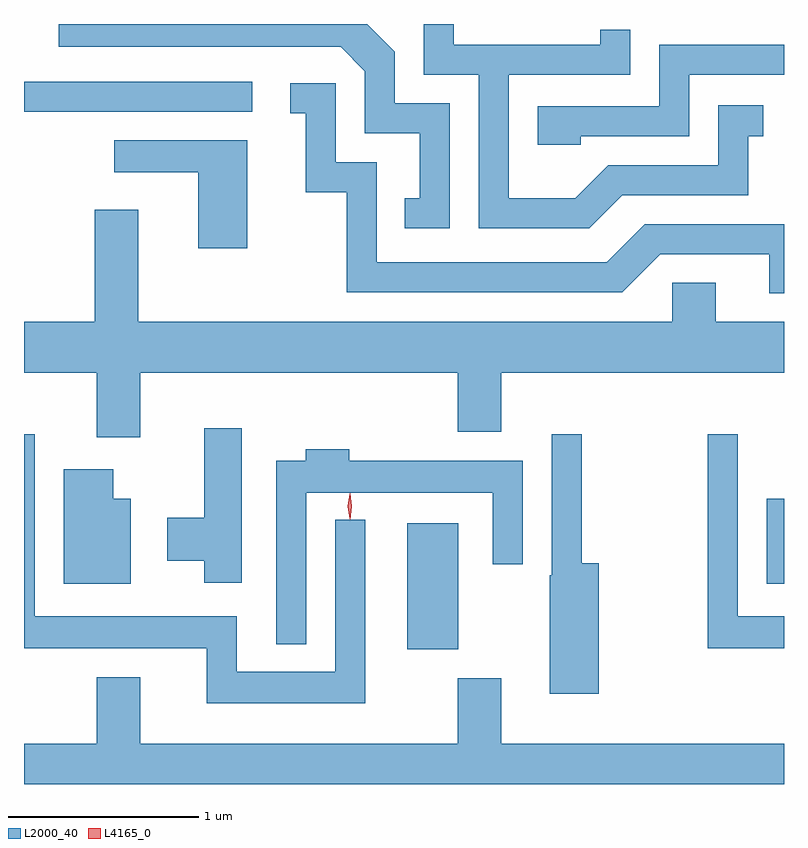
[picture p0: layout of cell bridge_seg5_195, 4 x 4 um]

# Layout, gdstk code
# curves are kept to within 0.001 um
import gdstk
lib = gdstk.Library(unit=1e-6, precision=1e-09)
def R(c, l, rs):  # rectangles x0, y0, x1, y1
    for r in rs: c.add(gdstk.rectangle(r[:2], r[2:], *l))
def P(c, l, *ps):  # polygons
    for p in ps: c.add(gdstk.Polygon(p, *l))
L2000_40 = (2000, 40)
L4165_0 = (4165, 0)

bridge_seg5_195 = lib.new_cell('bridge_seg5_195')
R(bridge_seg5_195, L2000_40, [(1278.636,1422.041,1278.904,1422.704), (1280.526,1422.386,1280.618,1422.834), (1276.618,1424.871,1277.818,1425.029)])
P(bridge_seg5_195, L2000_40, [(1279.767,1424.431),(1280.429,1424.431),(1280.429,1424.741),(1280.508,1424.741),(1280.508,1424.904),(1280.271,1424.904),(1280.271,1424.589),(1279.694,1424.589),(1279.519,1424.414),(1279.169,1424.414),(1279.169,1425.066),(1279.809,1425.066),(1279.809,1425.303),(1279.651,1425.303),(1279.651,1425.224),(1278.879,1425.224),(1278.879,1425.332),(1278.721,1425.332),(1278.721,1425.066),(1279.011,1425.066),(1279.011,1424.256),(1279.592,1424.256)],
  [(1278.859,1424.914),(1278.569,1424.914),(1278.569,1425.187),(1278.424,1425.332),(1276.618,1425.332),(1276.801,1425.331),(1276.801,1425.211),(1278.284,1425.211),(1278.411,1425.084),(1278.411,1424.756),(1278.701,1424.756),(1278.701,1424.414),(1278.623,1424.414),(1278.623,1424.256),(1278.859,1424.256)],
  [(1279.549,1424.741),(1280.119,1424.741),(1280.119,1425.066),(1280.618,1425.066),(1280.618,1425.224),(1279.961,1425.224),(1279.961,1424.899),(1279.321,1424.899),(1279.321,1424.696),(1279.549,1424.696)],
  [(1280.618,1424.279),(1279.884,1424.279),(1279.684,1424.079),(1278.474,1424.079),(1278.474,1424.604),(1278.259,1424.604),(1278.259,1425.019),(1278.018,1425.019),(1278.018,1424.861),(1278.101,1424.861),(1278.101,1424.446),(1278.316,1424.446),(1278.316,1423.921),(1279.767,1423.921),(1279.967,1424.121),(1280.541,1424.121),(1280.541,1423.916),(1280.618,1423.916)],
  [(1277.794,1424.719),(1277.093,1424.719),(1277.093,1424.551),(1277.536,1424.551),(1277.536,1424.151),(1277.794,1424.151)],
  [(1277.229,1423.496),(1278.901,1423.496),(1278.901,1423.186),(1279.129,1423.186),(1279.129,1423.496),(1280.618,1423.496),(1280.618,1423.764),(1280.259,1423.764),(1280.259,1423.969),(1280.031,1423.969),(1280.031,1423.764),(1277.219,1423.764),(1277.219,1424.354),(1276.991,1424.354),(1276.991,1423.764),(1276.618,1423.764),(1276.618,1423.496),(1277.001,1423.496),(1277.001,1423.156),(1277.229,1423.156)],
  [(1277.764,1423.204),(1277.566,1423.204),(1277.566,1422.734),(1277.371,1422.734),(1277.371,1422.506),(1277.566,1422.506),(1277.566,1422.391),(1277.764,1422.391)],
  [(1279.644,1422.494),(1279.554,1422.494),(1279.554,1423.173),(1279.396,1423.173),(1279.396,1422.43),(1279.386,1422.43),(1279.386,1421.806),(1279.644,1421.806)],
  [(1278.414,1422.723),(1278.256,1422.723),(1278.256,1421.924),(1277.739,1421.924),(1277.739,1422.214),(1276.674,1422.214),(1276.674,1423.173),(1276.618,1423.173),(1276.618,1422.046),(1277.581,1422.046),(1277.581,1421.756),(1278.414,1421.756)],
  [(1280.618,1422.214),(1280.374,1422.214),(1280.374,1423.173),(1280.216,1423.173),(1280.216,1422.046),(1280.618,1422.046)],
  [(1278.104,1422.866),(1279.086,1422.866),(1279.086,1422.488),(1279.244,1422.488),(1279.244,1423.034),(1278.329,1423.034),(1278.329,1423.094),(1278.101,1423.094),(1278.101,1423.034),(1277.946,1423.034),(1277.946,1422.068),(1278.104,1422.068)],
  [(1277.179,1422.834),(1277.089,1422.834),(1277.089,1422.989),(1276.826,1422.989),(1276.826,1422.386),(1277.179,1422.386)],
  [(1280.618,1421.544),(1279.129,1421.544),(1279.129,1421.889),(1278.901,1421.889),(1278.901,1421.544),(1277.229,1421.544),(1277.229,1421.894),(1277.001,1421.894),(1277.001,1421.544),(1276.618,1421.544),(1276.618,1421.332),(1280.618,1421.332)])
P(bridge_seg5_195, L4165_0, [(1278.333,1422.727),(1278.323,1422.794),(1278.333,1422.86),(1278.333,1422.86),(1278.334,1422.86),(1278.343,1422.794),(1278.334,1422.727),(1278.334,1422.727)],
  [(1278.334,1422.724),(1278.334,1422.724),(1278.324,1422.793),(1278.334,1422.863),(1278.334,1422.863),(1278.335,1422.863),(1278.344,1422.793),(1278.335,1422.724)])

lib.write_gds('bridge_seg5_195.gds')
